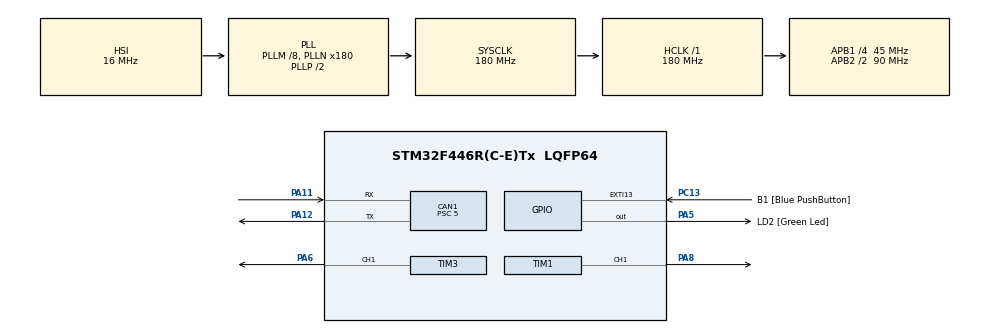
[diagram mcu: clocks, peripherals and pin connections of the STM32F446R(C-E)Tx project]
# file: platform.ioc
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CAN1.BS1=CAN_BS1_14TQ
CAN1.BS2=CAN_BS2_3TQ
CAN1.CalculateBaudRate=500000
CAN1.CalculateTimeBit=2000
CAN1.CalculateTimeQuantum=111.11111111111111
CAN1.Prescaler=5
Mcu.Family=STM32F4
Mcu.Name=STM32F446R(C-E)Tx
Mcu.Package=LQFP64
NVIC.PriorityGroup=NVIC_PRIORITYGROUP_0
PA0-WKUP.Signal=S_TIM2_CH1_ETR
PA11.Mode=CAN_Activate
PA11.Signal=CAN1_RX
PA12.Mode=CAN_Activate
PA12.Signal=CAN1_TX
PA13.GPIO_Label=TMS
PA13.Signal=SYS_JTMS-SWDIO
PA14.GPIO_Label=TCK
PA14.Signal=SYS_JTCK-SWCLK
PA2.GPIO_Label=USART_TX
PA2.Signal=USART2_TX
PA3.GPIO_Label=USART_RX
PA3.Signal=USART2_RX
PA5.GPIO_Label=LD2 [Green Led]
PA5.Signal=GPIO_Output
PA6.Signal=S_TIM3_CH1
PA8.Signal=S_TIM1_CH1
PB3.GPIO_Label=SWO
PB3.Signal=SYS_JTDO-SWO
PC13.GPIO_Label=B1 [Blue PushButton]
PC13.GPIO_ModeDefaultEXTI=GPIO_MODE_IT_FALLING
PC13.Signal=GPXTI13
PC14-OSC32_IN.Signal=RCC_OSC32_IN
PC15-OSC32_OUT.Signal=RCC_OSC32_OUT
PH0-OSC_IN.Signal=RCC_OSC_IN
PH1-OSC_OUT.Signal=RCC_OSC_OUT
ProjectManager.HeapSize=0x200
ProjectManager.StackSize=0x400
ProjectManager.TargetToolchain=STM32CubeIDE
RCC.AHBFreq_Value=180000000
RCC.APB1CLKDivider=RCC_HCLK_DIV4
RCC.APB1Freq_Value=45000000
RCC.APB1TimFreq_Value=90000000
RCC.APB2CLKDivider=RCC_HCLK_DIV2
RCC.APB2Freq_Value=90000000
RCC.APB2TimFreq_Value=180000000
RCC.CortexFreq_Value=180000000
RCC.FLatency-AdvancedSettings=FLASH_LATENCY_5
RCC.HCLKFreq_Value=180000000
RCC.HSE_VALUE=8000000
RCC.HSI_VALUE=16000000
RCC.LSE_VALUE=32768
RCC.PLLM=8
RCC.PLLN=180
RCC.SYSCLKFreq_VALUE=180000000
RCC.SYSCLKSource=RCC_SYSCLKSOURCE_PLLCLK
RCC.USBFreq_Value=180000000
RCC.VCOOutputFreq_Value=360000000
SH.S_TIM1_CH1.0=TIM1_CH1,PWM Generation1 CH1
SH.S_TIM2_CH1_ETR.0=TIM2_CH1
SH.S_TIM3_CH1.0=TIM3_CH1,PWM Generation1 CH1
TIM1.Channel-PWM\ Generation1\ CH1=TIM_CHANNEL_1
TIM1.Period=54054
TIM1.Prescaler=9
TIM3.Channel-PWM\ Generation1\ CH1=TIM_CHANNEL_1
TIM3.Period=54053
TIM3.Prescaler=9
board=NUCLEO-F446RE

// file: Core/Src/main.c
/* USER CODE BEGIN Header */
/**
  ******************************************************************************
  * @file           : main.c
  * @brief          : Main program body
  ******************************************************************************
  * @attention
  *
  * Copyright (c) 2026 STMicroelectronics.
  * All rights reserved.
  *
  * This software is licensed under terms that can be found in the LICENSE file
  * in the root directory of this software component.
  * If no LICENSE file comes with this software, it is provided AS-IS.
  *
  ******************************************************************************
  */
/* USER CODE END Header */
#include "main.h"

/* USER CODE BEGIN Includes */
#include "can_device.h"
/* USER CODE END Includes */

/* USER CODE BEGIN PD */

// defines for linear transformation between servo angle and CCR for desired pulse width
#define MIN_ANGLE 0
#define MAX_ANGLE 270
#define MIN_CCR 9009
#define MAX_CCR 45044

/* USER CODE END PD */

CAN_HandleTypeDef hcan1;

TIM_HandleTypeDef htim1;
TIM_HandleTypeDef htim3;

void SystemClock_Config(void);
static void MX_GPIO_Init(void);
static void MX_CAN1_Init(void);
static void MX_TIM1_Init(void);
static void MX_TIM3_Init(void);
/* USER CODE BEGIN PFP */
static int linearMap(float input, float in_min, float in_max, float out_min, float out_max);
static void setHorizontalAngle(float angle);
static void setVerticalAngle(float angle);

/* USER CODE END PFP */

int main(void)
{

  /* MCU Configuration--------------------------------------------------------*/

  /* Reset of all peripherals, Initializes the Flash interface and the Systick. */
  HAL_Init();

  /* Configure the system clock */
  SystemClock_Config();

  /* Initialize all configured peripherals */
  MX_GPIO_Init();
  MX_CAN1_Init();
  MX_TIM1_Init();
  MX_TIM3_Init();
  /* USER CODE BEGIN 2 */
  // start the servo PWMs
  HAL_TIM_PWM_Start(&htim1, TIM_CHANNEL_1);
  HAL_TIM_PWM_Start(&htim3, TIM_CHANNEL_1);

  /* USER CODE END 2 */

  /* Infinite loop */
  /* USER CODE BEGIN WHILE */
  while (1)
  {
	  HAL_Delay(1000);
	  setHorizontalAngle(90);
	  setVerticalAngle(90);

	  HAL_Delay(1000);
	  setHorizontalAngle(180);
	  setVerticalAngle(180);

	  HAL_Delay(1000);
	  setHorizontalAngle(0);
	  setVerticalAngle(0);

    /* USER CODE END WHILE */

  }
}

void SystemClock_Config(void)
{
  RCC_OscInitTypeDef RCC_OscInitStruct = {0};
  RCC_ClkInitTypeDef RCC_ClkInitStruct = {0};

  /** Configure the main internal regulator output voltage
  */
  __HAL_RCC_PWR_CLK_ENABLE();
  __HAL_PWR_VOLTAGESCALING_CONFIG(PWR_REGULATOR_VOLTAGE_SCALE1);

  /** Initializes the RCC Oscillators according to the specified parameters
  * in the RCC_OscInitTypeDef structure.
  */
  RCC_OscInitStruct.OscillatorType = RCC_OSCILLATORTYPE_HSI;
  RCC_OscInitStruct.HSIState = RCC_HSI_ON;
  RCC_OscInitStruct.HSICalibrationValue = RCC_HSICALIBRATION_DEFAULT;
  RCC_OscInitStruct.PLL.PLLState = RCC_PLL_ON;
  RCC_OscInitStruct.PLL.PLLSource = RCC_PLLSOURCE_HSI;
  RCC_OscInitStruct.PLL.PLLM = 8;
  RCC_OscInitStruct.PLL.PLLN = 180;
  RCC_OscInitStruct.PLL.PLLP = RCC_PLLP_DIV2;
  RCC_OscInitStruct.PLL.PLLQ = 2;
  RCC_OscInitStruct.PLL.PLLR = 2;
  if (HAL_RCC_OscConfig(&RCC_OscInitStruct) != HAL_OK)
  {
    Error_Handler();
  }

  /** Activate the Over-Drive mode
  */
  if (HAL_PWREx_EnableOverDrive() != HAL_OK)
  {
    Error_Handler();
  }

  /** Initializes the CPU, AHB and APB buses clocks
  */
  RCC_ClkInitStruct.ClockType = RCC_CLOCKTYPE_HCLK|RCC_CLOCKTYPE_SYSCLK
                              |RCC_CLOCKTYPE_PCLK1|RCC_CLOCKTYPE_PCLK2;
  RCC_ClkInitStruct.SYSCLKSource = RCC_SYSCLKSOURCE_PLLCLK;
  RCC_ClkInitStruct.AHBCLKDivider = RCC_SYSCLK_DIV1;
  RCC_ClkInitStruct.APB1CLKDivider = RCC_HCLK_DIV4;
  RCC_ClkInitStruct.APB2CLKDivider = RCC_HCLK_DIV2;

  if (HAL_RCC_ClockConfig(&RCC_ClkInitStruct, FLASH_LATENCY_5) != HAL_OK)
  {
    Error_Handler();
  }
}

static void MX_CAN1_Init(void)
{

  hcan1.Instance = CAN1;
  hcan1.Init.Prescaler = 5;
  hcan1.Init.Mode = CAN_MODE_NORMAL;
  hcan1.Init.SyncJumpWidth = CAN_SJW_1TQ;
  hcan1.Init.TimeSeg1 = CAN_BS1_14TQ;
  hcan1.Init.TimeSeg2 = CAN_BS2_3TQ;
  hcan1.Init.TimeTriggeredMode = DISABLE;
  hcan1.Init.AutoBusOff = DISABLE;
  hcan1.Init.AutoWakeUp = DISABLE;
  hcan1.Init.AutoRetransmission = DISABLE;
  hcan1.Init.ReceiveFifoLocked = DISABLE;
  hcan1.Init.TransmitFifoPriority = DISABLE;
  if (HAL_CAN_Init(&hcan1) != HAL_OK)
  {
    Error_Handler();
  }

}

static void MX_TIM1_Init(void)
{

  TIM_MasterConfigTypeDef sMasterConfig = {0};
  TIM_OC_InitTypeDef sConfigOC = {0};
  TIM_BreakDeadTimeConfigTypeDef sBreakDeadTimeConfig = {0};

  htim1.Instance = TIM1;
  htim1.Init.Prescaler = 9;
  htim1.Init.CounterMode = TIM_COUNTERMODE_UP;
  htim1.Init.Period = 54054;
  htim1.Init.ClockDivision = TIM_CLOCKDIVISION_DIV1;
  htim1.Init.RepetitionCounter = 0;
  htim1.Init.AutoReloadPreload = TIM_AUTORELOAD_PRELOAD_DISABLE;
  if (HAL_TIM_PWM_Init(&htim1) != HAL_OK)
  {
    Error_Handler();
  }
  sMasterConfig.MasterOutputTrigger = TIM_TRGO_RESET;
  sMasterConfig.MasterSlaveMode = TIM_MASTERSLAVEMODE_DISABLE;
  if (HAL_TIMEx_MasterConfigSynchronization(&htim1, &sMasterConfig) != HAL_OK)
  {
    Error_Handler();
  }
  sConfigOC.OCMode = TIM_OCMODE_PWM1;
  sConfigOC.Pulse = 0;
  sConfigOC.OCPolarity = TIM_OCPOLARITY_HIGH;
  sConfigOC.OCNPolarity = TIM_OCNPOLARITY_HIGH;
  sConfigOC.OCFastMode = TIM_OCFAST_DISABLE;
  sConfigOC.OCIdleState = TIM_OCIDLESTATE_RESET;
  sConfigOC.OCNIdleState = TIM_OCNIDLESTATE_RESET;
  if (HAL_TIM_PWM_ConfigChannel(&htim1, &sConfigOC, TIM_CHANNEL_1) != HAL_OK)
  {
    Error_Handler();
  }
  sBreakDeadTimeConfig.OffStateRunMode = TIM_OSSR_DISABLE;
  sBreakDeadTimeConfig.OffStateIDLEMode = TIM_OSSI_DISABLE;
  sBreakDeadTimeConfig.LockLevel = TIM_LOCKLEVEL_OFF;
  sBreakDeadTimeConfig.DeadTime = 0;
  sBreakDeadTimeConfig.BreakState = TIM_BREAK_DISABLE;
  sBreakDeadTimeConfig.BreakPolarity = TIM_BREAKPOLARITY_HIGH;
  sBreakDeadTimeConfig.AutomaticOutput = TIM_AUTOMATICOUTPUT_DISABLE;
  if (HAL_TIMEx_ConfigBreakDeadTime(&htim1, &sBreakDeadTimeConfig) != HAL_OK)
  {
    Error_Handler();
  }
  HAL_TIM_MspPostInit(&htim1);

}

static void MX_TIM3_Init(void)
{

  TIM_MasterConfigTypeDef sMasterConfig = {0};
  TIM_OC_InitTypeDef sConfigOC = {0};

  htim3.Instance = TIM3;
  htim3.Init.Prescaler = 9;
  htim3.Init.CounterMode = TIM_COUNTERMODE_UP;
  htim3.Init.Period = 54053;
  htim3.Init.ClockDivision = TIM_CLOCKDIVISION_DIV1;
  htim3.Init.AutoReloadPreload = TIM_AUTORELOAD_PRELOAD_DISABLE;
  if (HAL_TIM_PWM_Init(&htim3) != HAL_OK)
  {
    Error_Handler();
  }
  sMasterConfig.MasterOutputTrigger = TIM_TRGO_RESET;
  sMasterConfig.MasterSlaveMode = TIM_MASTERSLAVEMODE_DISABLE;
  if (HAL_TIMEx_MasterConfigSynchronization(&htim3, &sMasterConfig) != HAL_OK)
  {
    Error_Handler();
  }
  sConfigOC.OCMode = TIM_OCMODE_PWM1;
  sConfigOC.Pulse = 0;
  sConfigOC.OCPolarity = TIM_OCPOLARITY_HIGH;
  sConfigOC.OCFastMode = TIM_OCFAST_DISABLE;
  if (HAL_TIM_PWM_ConfigChannel(&htim3, &sConfigOC, TIM_CHANNEL_1) != HAL_OK)
  {
    Error_Handler();
  }
  HAL_TIM_MspPostInit(&htim3);

}

static void MX_GPIO_Init(void)
{
  GPIO_InitTypeDef GPIO_InitStruct = {0};

  /* GPIO Ports Clock Enable */
  __HAL_RCC_GPIOC_CLK_ENABLE();
  __HAL_RCC_GPIOH_CLK_ENABLE();
  __HAL_RCC_GPIOA_CLK_ENABLE();
  __HAL_RCC_GPIOB_CLK_ENABLE();

  /*Configure GPIO pin Output Level */
  HAL_GPIO_WritePin(LD2_GPIO_Port, LD2_Pin, GPIO_PIN_RESET);

  /*Configure GPIO pin : B1_Pin */
  GPIO_InitStruct.Pin = B1_Pin;
  GPIO_InitStruct.Mode = GPIO_MODE_IT_FALLING;
  GPIO_InitStruct.Pull = GPIO_NOPULL;
  HAL_GPIO_Init(B1_GPIO_Port, &GPIO_InitStruct);

  /*Configure GPIO pin : PA0 */
  GPIO_InitStruct.Pin = GPIO_PIN_0;
  GPIO_InitStruct.Mode = GPIO_MODE_AF_PP;
  GPIO_InitStruct.Pull = GPIO_NOPULL;
  GPIO_InitStruct.Speed = GPIO_SPEED_FREQ_LOW;
  GPIO_InitStruct.Alternate = GPIO_AF1_TIM2;
  HAL_GPIO_Init(GPIOA, &GPIO_InitStruct);

  /*Configure GPIO pins : USART_TX_Pin USART_RX_Pin */
  GPIO_InitStruct.Pin = USART_TX_Pin|USART_RX_Pin;
  GPIO_InitStruct.Mode = GPIO_MODE_AF_PP;
  GPIO_InitStruct.Pull = GPIO_NOPULL;
  GPIO_InitStruct.Speed = GPIO_SPEED_FREQ_VERY_HIGH;
  GPIO_InitStruct.Alternate = GPIO_AF7_USART2;
  HAL_GPIO_Init(GPIOA, &GPIO_InitStruct);

  /*Configure GPIO pin : LD2_Pin */
  GPIO_InitStruct.Pin = LD2_Pin;
  GPIO_InitStruct.Mode = GPIO_MODE_OUTPUT_PP;
  GPIO_InitStruct.Pull = GPIO_NOPULL;
  GPIO_InitStruct.Speed = GPIO_SPEED_FREQ_LOW;
  HAL_GPIO_Init(LD2_GPIO_Port, &GPIO_InitStruct);

}

/* USER CODE BEGIN 4 */
static int linearMap(float input, float in_min, float in_max, float out_min, float out_max) {
	float frac = (out_max - out_min) / (in_max - in_min);
	return out_min + frac * (input - in_min);
}

static void setHorizontalAngle(float angle) {
	htim1.Instance->CCR1 = linearMap(angle, MIN_ANGLE, MAX_ANGLE, MIN_CCR, MAX_CCR);
}

static void setVerticalAngle(float angle) {
	htim3.Instance->CCR1 = linearMap(angle, MIN_ANGLE, MAX_ANGLE, MIN_CCR, MAX_CCR);
}
/* USER CODE END 4 */

void Error_Handler(void)
{
  __disable_irq();
  while (1)
  {
  }
}
